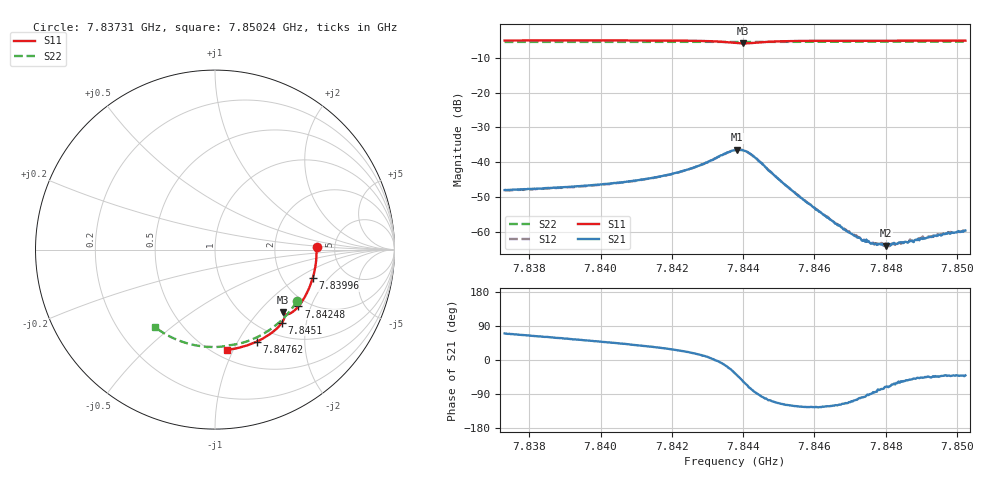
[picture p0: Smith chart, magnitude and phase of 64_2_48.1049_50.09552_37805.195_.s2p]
#  HZ  S  RI  R  50.00
! Rohde & Schwarz Vector Network Analyzer
! Rohde-Schwarz,ZNB20-2Port,1311601062101988,3.16
! Created: UTC 12/23/2023, 3:41:05 AM
! freq[Hz]  re:S11  im:S11  re:S21  im:S21  re:S12  im:S12  re:S22  im:S22
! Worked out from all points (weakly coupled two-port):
!   401 points, 7.83731 GHz to 7.85024 GHz, reference 50 ohm
!   highest |S21| = -36.38 dB at 7.84384 GHz (marker M1); lowest = -64.0 dB at 7.84801 GHz (marker M2)
!   lowest |S11| = -5.8 dB at 7.844 GHz (marker M3), VSWR 3.12, Z = 72.2 - j68.6 ohm
!   |S11| at or under -10 dB: nowhere
!   |S22| runs from -5.4 to -5.3 dB; largest |S21 - S12| = 0.00037
!   S11 on the Smith chart (normalised r, x): 7.83731 GHz: 3.60, +0.16; 7.83996 GHz: 2.90, -1.37; 7.84248 GHz: 1.77, -1.64; 7.8451 GHz: 1.24, -1.46; 7.84762 GHz: 0.80, -1.20; 7.85024 GHz: 0.58, -0.94
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7.837307e9  0.5662 0.0148  0.00135 0.00374  0.00139 0.00367  0.4562 -0.2887
7.839473e9  0.5522 -0.1288  0.00274 0.00362  0.00274 0.0036  0.3586 -0.4046
7.839958e9  0.5439 -0.1603  0.00314 0.00358  0.00309 0.00354  0.3325 -0.4263
7.841639e9  0.4989 -0.2662  0.00519 0.00334  0.0052 0.00333  0.2325 -0.4889
7.842479e9  0.4646 -0.3166  0.00747 0.00278  0.00739 0.00277  0.1778 -0.5113
7.842932e9  0.4401 -0.3414  0.0096 0.00171  0.0095 0.00173  0.1474 -0.5208
7.843288e9  0.4156 -0.3568  0.0119 -0.000647  0.0118 -0.000512  0.123 -0.5266
7.843773e9  0.3806 -0.3571  0.0122 -0.00861  0.0123 -0.00849  0.0906 -0.5315
7.843837e9  0.3784 -0.3549  0.0115 -0.00993  0.0116 -0.00981  0.0863 -0.5321
7.843999e9  0.3776 -0.3495  0.00824 -0.0124  0.00834 -0.0123  0.0761 -0.5336
7.844322e9  0.3865 -0.3553  0.00118 -0.0118  0.00135 -0.0117  0.0555 -0.5373
7.845098e9  0.373 -0.4072  -0.00227 -0.00461  -0.00228 -0.00461  0.0012 -0.5427
7.845939e9  0.331 -0.4516  -0.00129 -0.00192  -0.00132 -0.00193  -0.0582 -0.5407
7.846876e9  0.2778 -0.4889  -0.000416 -0.000954  -0.000446 -0.000977  -0.1232 -0.5302
7.847361e9  0.2489 -0.5048  -0.000109 -0.000728  -0.000136 -0.000735  -0.1561 -0.5218
7.84762e9  0.2331 -0.5123  2.42e-05 -0.000676  3.8e-05 -0.000686  -0.1734 -0.5165
7.848008e9  0.2091 -0.5227  0.000208 -0.000596  0.000218 -0.000641  -0.1991 -0.5074
7.848105e9  0.2031 -0.525  0.000227 -0.000616  0.000226 -0.000575  -0.2054 -0.5048
7.848816e9  0.158 -0.5404  0.000492 -0.000573  0.000465 -0.000564  -0.2508 -0.4843
7.848978e9  0.1475 -0.5433  0.000543 -0.000573  0.000544 -0.0006  -0.2611 -0.479
7.850077e9  0.0759 -0.5575  0.000734 -0.00066  0.000747 -0.000655  -0.3261 -0.438
7.850239e9  0.0651 -0.5588  0.000787 -0.000676  0.000816 -0.000711  -0.3352 -0.4313
